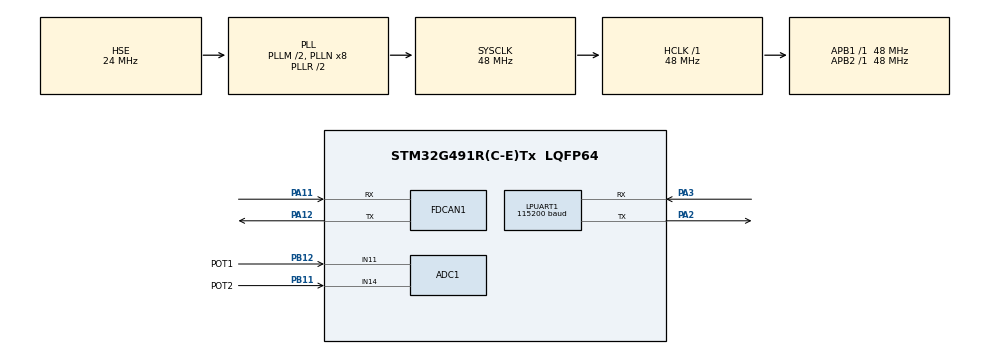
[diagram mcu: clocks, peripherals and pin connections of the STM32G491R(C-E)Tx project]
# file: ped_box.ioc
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ADC1.Channel-1\#ChannelRegularConversion=ADC_CHANNEL_11
ADC1.ContinuousConvMode=ENABLE
ADC1.NbrOfConversionFlag=1
ADC1.OffsetNumber-1\#ChannelRegularConversion=ADC_OFFSET_NONE
ADC1.Rank-1\#ChannelRegularConversion=1
ADC1.SamplingTime-1\#ChannelRegularConversion=ADC_SAMPLETIME_2CYCLES_5
ADC1.master=1
FDCAN1.CalculateBaudRateNominal=3000000
FDCAN1.CalculateTimeBitNominal=333
FDCAN1.CalculateTimeQuantumNominal=20.833333333333332
FDCAN1.NominalPrescaler=1
FDCAN1.NominalTimeSeg1=13
LPUART1.BaudRate=115200
Mcu.Family=STM32G4
Mcu.Name=STM32G491R(C-E)Tx
Mcu.Package=LQFP64
NVIC.FDCAN1_IT0_IRQn=true\:0\:0\:false\:false\:true\:true\:true\:true
NVIC.FDCAN1_IT1_IRQn=true\:0\:0\:false\:false\:true\:true\:true\:true
NVIC.PriorityGroup=NVIC_PRIORITYGROUP_4
PA11.Mode=FDCAN_Activate
PA11.Signal=FDCAN1_RX
PA12.Mode=FDCAN_Activate
PA12.Signal=FDCAN1_TX
PA13.Mode=JTAG_4_pins
PA13.Signal=SYS_JTMS-SWDIO
PA14.Mode=JTAG_4_pins
PA14.Signal=SYS_JTCK-SWCLK
PA15.Mode=JTAG_4_pins
PA15.Signal=SYS_JTDI
PA2.Mode=Asynchronous
PA2.Signal=LPUART1_TX
PA3.Mode=Asynchronous
PA3.Signal=LPUART1_RX
PB11.GPIO_Label=POT2
PB11.Mode=IN14-Single-Ended
PB11.Signal=ADC1_IN14
PB12.GPIO_Label=POT1
PB12.Mode=IN11-Single-Ended
PB12.Signal=ADC1_IN11
PB3.Mode=JTAG_4_pins
PB3.Signal=SYS_JTDO-SWO
PF0-OSC_IN.Mode=HSE-External-Oscillator
PF0-OSC_IN.Signal=RCC_OSC_IN
PF1-OSC_OUT.Mode=HSE-External-Oscillator
PF1-OSC_OUT.Signal=RCC_OSC_OUT
ProjectManager.HeapSize=0x200
ProjectManager.StackSize=0x400
ProjectManager.TargetToolchain=STM32CubeIDE
RCC.ADC12Freq_Value=48000000
RCC.ADC345Freq_Value=48000000
RCC.AHBFreq_Value=48000000
RCC.APB1Freq_Value=48000000
RCC.APB1TimFreq_Value=48000000
RCC.APB2Freq_Value=48000000
RCC.APB2TimFreq_Value=48000000
RCC.CortexFreq_Value=48000000
RCC.EXTERNAL_CLOCK_VALUE=12288000
RCC.HCLKFreq_Value=48000000
RCC.HSE_VALUE=24000000
RCC.HSI48_VALUE=48000000
RCC.HSI_VALUE=16000000
RCC.LSE_VALUE=32768
RCC.PLLM=RCC_PLLM_DIV2
RCC.PLLSourceVirtual=RCC_PLLSOURCE_HSE
RCC.SYSCLKFreq_VALUE=48000000
RCC.SYSCLKSource=RCC_SYSCLKSOURCE_PLLCLK
RCC.VCOOutputFreq_Value=96000000
VP_ADC1_TempSens_Input.Mode=IN-TempSens
VP_SYS_VS_DBSignals.Mode=DisableDeadBatterySignals
board=custom

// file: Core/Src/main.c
/* USER CODE BEGIN Header */
/**
  ******************************************************************************
  * @file           : main.c
  * @brief          : Main program body
  ******************************************************************************
  * @attention
  *
  * Copyright (c) 2024 STMicroelectronics.
  * All rights reserved.
  *
  * This software is licensed under terms that can be found in the LICENSE file
  * in the root directory of this software component.
  * If no LICENSE file comes with this software, it is provided AS-IS.
  *
  ******************************************************************************
  */
/* USER CODE END Header */
#include "main.h"
#include "adc.h"
#include "fdcan.h"
#include "usart.h"
#include "gpio.h"

/* USER CODE BEGIN Includes */
#include "stdio.h"
#include "stm32g4xx_hal_uart.h"

/* USER CODE END Includes */

void SystemClock_Config(void);

/* USER CODE BEGIN 0 */
int __io_putchar(int ch)
{
    HAL_UART_Transmit(&hlpuart1, (uint8_t *)&ch, 1, HAL_MAX_DELAY);  // Send character via LPUART1
    return ch;  // Return the character (required by the standard)
}
/* USER CODE END 0 */

int main(void)
{

  /* MCU Configuration--------------------------------------------------------*/

  /* Reset of all peripherals, Initializes the Flash interface and the Systick. */
  HAL_Init();

  /* Configure the system clock */
  SystemClock_Config();

  /* Initialize all configured peripherals */
  MX_GPIO_Init();
  MX_ADC1_Init();
  MX_FDCAN1_Init();
  MX_LPUART1_UART_Init();
  /* USER CODE BEGIN 2 */
  // Need to modify MX_ADC1_Init function to accomodate two channels

  // Configure GPIO pins for ADC1_IN8 (PC2) and ADC1_IN9 (PC3)
  GPIO_InitTypeDef GPIO_InitStruct = {0};
  __HAL_RCC_GPIOC_CLK_ENABLE();

  // Configure PC2 (ADC1_IN8) as analog input
  GPIO_InitStruct.Pin = GPIO_PIN_2;  // PC2
  GPIO_InitStruct.Mode = GPIO_MODE_ANALOG;
  GPIO_InitStruct.Pull = GPIO_NOPULL;
  HAL_GPIO_Init(GPIOC, &GPIO_InitStruct);

  // Configure PC3 (ADC1_IN9) as analog input
  GPIO_InitStruct.Pin = GPIO_PIN_3;  // PC3
  GPIO_InitStruct.Mode = GPIO_MODE_ANALOG;
  GPIO_InitStruct.Pull = GPIO_NOPULL;
  HAL_GPIO_Init(GPIOC, &GPIO_InitStruct);

  // FDCAN1 pins configuration for TX and RX
  __HAL_RCC_GPIOA_CLK_ENABLE();
  GPIO_InitStruct.Pin = GPIO_PIN_12; // FDCAN1_TX Pin
  GPIO_InitStruct.Mode = GPIO_MODE_AF_PP;
  GPIO_InitStruct.Pull = GPIO_NOPULL;
  GPIO_InitStruct.Speed = GPIO_SPEED_FREQ_HIGH;
  GPIO_InitStruct.Alternate = GPIO_AF9_FDCAN1;
  HAL_GPIO_Init(GPIOA, &GPIO_InitStruct);

  GPIO_InitStruct.Pin = GPIO_PIN_11; // FDCAN1_RX Pin
  GPIO_InitStruct.Mode = GPIO_MODE_AF_PP;
  GPIO_InitStruct.Pull = GPIO_NOPULL;
  GPIO_InitStruct.Speed = GPIO_SPEED_FREQ_HIGH;
  GPIO_InitStruct.Alternate = GPIO_AF9_FDCAN1;
  HAL_GPIO_Init(GPIOA, &GPIO_InitStruct);

  // PA2 (LPUART1_TX)
  GPIO_InitStruct.Pin = GPIO_PIN_2;
  GPIO_InitStruct.Mode = GPIO_MODE_AF_PP; // Alternate function push-pull mode
  GPIO_InitStruct.Pull = GPIO_NOPULL;     // No pull-up or pull-down resistors
  GPIO_InitStruct.Speed = GPIO_SPEED_FREQ_HIGH;
  GPIO_InitStruct.Alternate = GPIO_AF8_LPUART1; // Alternate function for LPUART1 TX
  HAL_GPIO_Init(GPIOA, &GPIO_InitStruct);

  // PA3 (LPUART1_RX)
  GPIO_InitStruct.Pin = GPIO_PIN_3;
  GPIO_InitStruct.Mode = GPIO_MODE_AF_PP; // Alternate function push-pull mode
  GPIO_InitStruct.Pull = GPIO_NOPULL;     // No pull-up or pull-down resistors
  GPIO_InitStruct.Speed = GPIO_SPEED_FREQ_HIGH;
  GPIO_InitStruct.Alternate = GPIO_AF8_LPUART1; // Alternate function for LPUART1 RX
  HAL_GPIO_Init(GPIOA, &GPIO_InitStruct);

  // Start ADC
  HAL_ADC_Start(&hadc1);  // Start the ADC
  HAL_FDCAN_Start(&hfdcan1);  // Start FDCAN1 communication

  /* USER CODE END 2 */

  /* Infinite loop */
  /* USER CODE BEGIN WHILE */
  HAL_ADC_Start(&hadc1);  // Start the ADC

  while (1)
  {
	  // declare variables
	  uint32_t adcValue1;
	  uint32_t adcValue2;
      // Configure and read from ADC1_IN8 (Pot 1)
    if (HAL_ADC_PollForConversion(&hadc1, 1000000) == HAL_OK)
    {
            adcValue1 = HAL_ADC_GetValue(&hadc1);
    }

            // Stop the ADC and configure it for ADC1_IN9 (Pot 2)
            HAL_ADC_Stop(&hadc1);

            ADC_ChannelConfTypeDef sConfig = {0};
            sConfig.Channel = ADC_CHANNEL_9; // ADC1_IN9
            sConfig.Rank = ADC_REGULAR_RANK_1;
            sConfig.SamplingTime = ADC_SAMPLETIME_3CYCLES_5;
            sConfig.SingleDiff = ADC_SINGLE_ENDED;
            HAL_ADC_ConfigChannel(&hadc1, &sConfig);

            // Start ADC conversion for ADC1_IN9 (Pot 2)
            HAL_ADC_Start(&hadc1);
            if (HAL_ADC_PollForConversion(&hadc1, 1000000) == HAL_OK)
            {
            //	uint32_t adcValue2;
                adcValue2 = HAL_ADC_GetValue(&hadc1); // Pot 2 value

                // inverting pot 2 value (assuming it's wired backwards)
                adcValue2 = 4095 - adcValue2;
            }

            // Convert ADC values to percentage
            float percentage1;
            float percentage2;

            percentage1 = ((float)adcValue1 / 4095) * 100;  // For ADC1_IN8 (PC2)
            percentage2 = ((float)adcValue2 / 4095) * 100;  // For ADC1_IN9 (PC3)

            // check if percentages are off?
            if((percentage1 >= percentage2 + 5) || (percentage1 <= percentage2 - 5))
            {
            	// call error message?
            	// Error_Handler();  ? Maybe???
            }

     /*       // output to CAN
            FDCAN_TxHeaderTypeDef TxHeader;
            uint8_t canData;  // CAN data payload (one byte)

            // CAN frame setup
            TxHeader.Identifier = 0x321;  // CAN identifier (can be any valid identifier)
            TxHeader.DLC = 1;  // Data length code (DLC), sending 1 byte
            TxHeader.TransmitGlobalTime = DISABLE;  // No global time

            // Prepare data for CAN: Convert percentage1 to an 8-bit integer
            int8_t percentage1Int = (int8_t)(percentage1 * 100);  // Convert percentage1 to an integer (range: -128 to 127)

            // Load the CAN data
            canData = percentage1Int;  // Store the 8-bit integer value of percentage1 in canData

            // Send the CAN message
            if (HAL_FDCAN_AddMessageToTxFifoQ(&hfdcan1, &TxHeader, &canData) != HAL_OK)
            {
                Error_Handler();  // Handle error if CAN message can't be added to FIFO
            }
	*/

            // output to LPUART -- No clue
            printf("Percentage 1: %.2f%%, Percentage 2: %.2f%%\r\n", percentage1, percentage2);

        }
    /* USER CODE END WHILE */

    /* USER CODE BEGIN 3 */
  return 0;
  /* USER CODE END 3 */
}

void SystemClock_Config(void)
{
  RCC_OscInitTypeDef RCC_OscInitStruct = {0};
  RCC_ClkInitTypeDef RCC_ClkInitStruct = {0};

  /** Configure the main internal regulator output voltage
  */
  HAL_PWREx_ControlVoltageScaling(PWR_REGULATOR_VOLTAGE_SCALE1);

  /** Initializes the RCC Oscillators according to the specified parameters
  * in the RCC_OscInitTypeDef structure.
  */
  RCC_OscInitStruct.OscillatorType = RCC_OSCILLATORTYPE_HSE;
  RCC_OscInitStruct.HSEState = RCC_HSE_ON;
  RCC_OscInitStruct.PLL.PLLState = RCC_PLL_ON;
  RCC_OscInitStruct.PLL.PLLSource = RCC_PLLSOURCE_HSE;
  RCC_OscInitStruct.PLL.PLLM = RCC_PLLM_DIV2;
  RCC_OscInitStruct.PLL.PLLN = 8;
  RCC_OscInitStruct.PLL.PLLP = RCC_PLLP_DIV2;
  RCC_OscInitStruct.PLL.PLLQ = RCC_PLLQ_DIV2;
  RCC_OscInitStruct.PLL.PLLR = RCC_PLLR_DIV2;
  if (HAL_RCC_OscConfig(&RCC_OscInitStruct) != HAL_OK)
  {
    Error_Handler();
  }

  /** Initializes the CPU, AHB and APB buses clocks
  */
  RCC_ClkInitStruct.ClockType = RCC_CLOCKTYPE_HCLK|RCC_CLOCKTYPE_SYSCLK
                              |RCC_CLOCKTYPE_PCLK1|RCC_CLOCKTYPE_PCLK2;
  RCC_ClkInitStruct.SYSCLKSource = RCC_SYSCLKSOURCE_PLLCLK;
  RCC_ClkInitStruct.AHBCLKDivider = RCC_SYSCLK_DIV1;
  RCC_ClkInitStruct.APB1CLKDivider = RCC_HCLK_DIV1;
  RCC_ClkInitStruct.APB2CLKDivider = RCC_HCLK_DIV1;

  if (HAL_RCC_ClockConfig(&RCC_ClkInitStruct, FLASH_LATENCY_1) != HAL_OK)
  {
    Error_Handler();
  }
}

void Error_Handler(void)
{
  __disable_irq();
  while (1)
  {
  }
}
